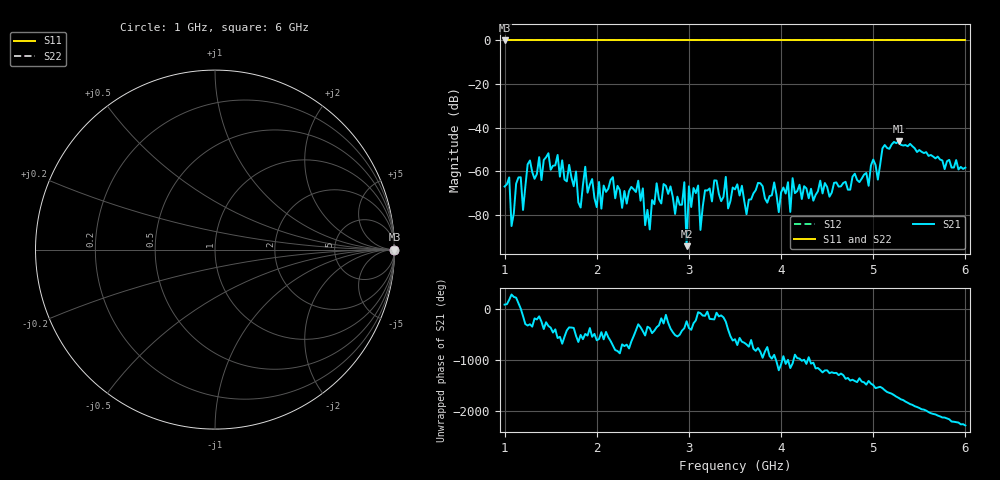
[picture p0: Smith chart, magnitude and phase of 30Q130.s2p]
!Keysight Technologies N9926A: A.08.19
!Date: Sunday, 01 March 2026 14:27:24
!Timezone: (GMT-06:00) Central Time (US & Canada)
!Model: N9926A
!Serial: MY53102721
!GPS Latitude:
!GPS Longitude:
!GPS TimeStamp: 0001-01-01 00:00:00Z
!GPS Seconds Since Last Read: 0
!CHECKSUM:0615673300
!Correction: S11()S21(ON U)S12()S22()
!S2P File: Measurements:S11,S21,S12,S22:
# Hz S DB R 50
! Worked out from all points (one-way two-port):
!   201 points, 1 GHz to 6 GHz, reference 50 ohm
!   highest |S21| = -46.38 dB at 5.275 GHz (marker M1); lowest = -94.4 dB at 2.975 GHz (marker M2)
!   lowest |S11| = 0.0 dB at 1 GHz (marker M3)
!   |S11| at or under -10 dB: nowhere
!   |S22| runs from 0.0 to 0.0 dB; largest |S21 - S12| = 1
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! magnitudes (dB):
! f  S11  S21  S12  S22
! 1 GHz  0.0  -67.1  0.0  0.0
! 1.05 GHz  0.0  -62.9  0.0  0.0
! 1.075 GHz  0.0  -85.2  0.0  0.0
! 1.175 GHz  0.0  -62.8  0.0  0.0
! 1.2 GHz  0.0  -77.8  0.0  0.0
! 1.25 GHz  0.0  -56.9  0.0  0.0
! 1.475 GHz  0.0  -51.8  0.0  0.0
! 1.775 GHz  0.0  -60.2  0.0  0.0
! 1.825 GHz  0.0  -76.7  0.0  0.0
! 1.85 GHz  0.0  -66.3  0.0  0.0
! 2.675 GHz  0.0  -72.9  0.0  0.0
! 2.85 GHz  0.0  -79.7  0.0  0.0
! 2.95 GHz  0.0  -65.1  0.0  0.0
! 2.975 GHz  0.0  -94.4  0.0  0.0
! 3 GHz  0.0  -67.0  0.0  0.0
! 3.125 GHz  0.0  -87.0  0.0  0.0
! 3.275 GHz  0.0  -64.2  0.0  0.0
! 3.5 GHz  0.0  -68.4  0.0  0.0
! 4.35 GHz  0.0  -73.6  0.0  0.0
! 5.175 GHz  0.0  -49.8  0.0  0.0
! 5.275 GHz  0.0  -46.4  0.0  0.0
! 6 GHz  0.0  -58.4  0.0  0.0
